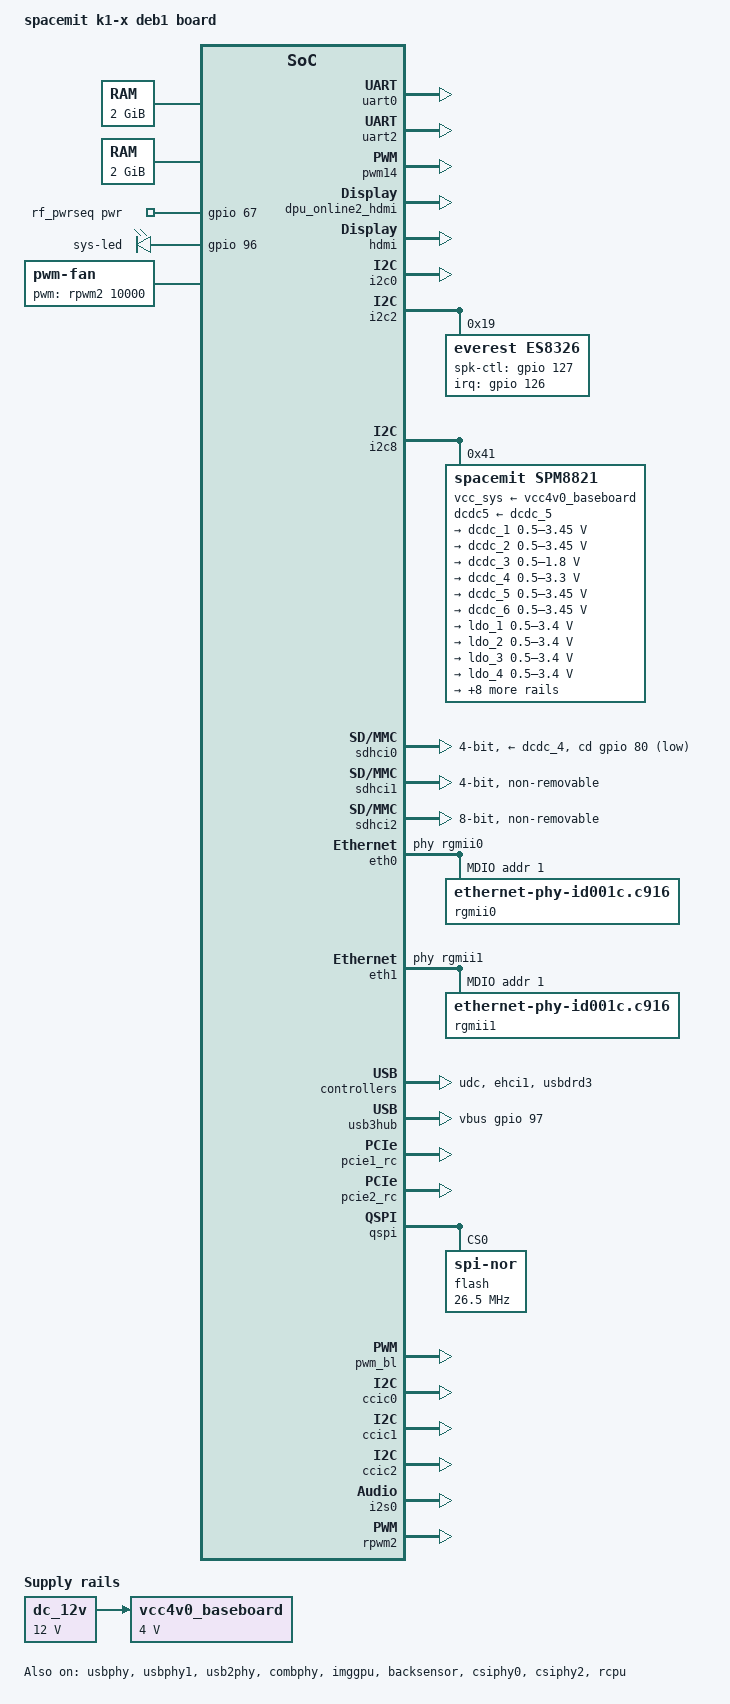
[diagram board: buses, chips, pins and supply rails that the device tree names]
// SPDX-License-Identifier: (GPL-2.0 OR MIT)
/* Copyright (c) 2023 Spacemit, Inc */

/dts-v1/;

#include "k1-x.dtsi"
#include "k1-x-efuse.dtsi"
#include "k1-x_pinctrl.dtsi"
#include "lcd_gx09inx101_mipi.dtsi"
#include "k1-x-hdmi.dtsi"
#include "k1-x-lcd.dtsi"
#include "k1-x-camera-sdk.dtsi"
#include "k1-x_opp_table.dtsi"

/ {
	model = "spacemit k1-x deb1 board";
	modules_usrload = "8852bs";

	cpus: cpus {
		#address-cells = <1>;
		#size-cells = <0>;
		timebase-frequency = <24000000>;

		cpu_0: cpu@0 {
			cpu-ai = "true";
		};

		cpu_1: cpu@1 {
			cpu-ai = "true";
		};

		cpu_2: cpu@2 {
			reg = <2>;
			cpu-ai = "true";
		};

		cpu_3: cpu@3 {
			reg = <3>;
			cpu-ai = "true";
		};

		cpu-map {
			cluster0 {
				core0 {
					cpu = <&cpu_0>;
				};

				core1 {
					cpu = <&cpu_1>;
				};

				core2 {
					cpu = <&cpu_2>;
				};

				core3 {
					cpu = <&cpu_3>;
				};
			};

			cluster1 {
				core0 {
					cpu = <&cpu_4>;
				};

				core1 {
					cpu = <&cpu_5>;
				};

				core2 {
					cpu = <&cpu_6>;
				};

				core3 {
					cpu = <&cpu_7>;
				};
			};
		};
	};

	memory@0 {
		device_type = "memory";
		reg = <0x0 0x00000000 0x0 0x80000000>;
	};

	memory@100000000 {
		device_type = "memory";
		reg = <0x1 0x00000000 0x0 0x80000000>;
	};

	reserved-memory {
		#address-cells = <2>;
		#size-cells = <2>;
		ranges;

		linux,cma {
			compatible = "shared-dma-pool";
			/* alloc memory from 0x40000000~0x80000000 */
			alloc-ranges = <0 0x40000000 0 0x40000000>;
			/* size of cma buffer is 384MByte */
			size = <0 0x18000000>;
			/* start address is 1Mbyte aligned */
			alignment = <0x0 0x100000>;
			linux,cma-default;
			/* besides hardware, dma for ex. buffer can be used by memory management */
			reusable;
		};

		/* reserved 384K for dpu, including mmu table(256K) and cmdlist(128K) */
		dpu_resv: dpu_reserved@2ff40000 {
			compatible = "shared-dma-pool";
			reg = <0x0 0x2ff40000 0x0 0x000C0000>;
			no-map;
		};
	};

	chosen {
		bootargs = "earlycon=sbi console=ttyS0,115200n8 debug loglevel=8 swiotlb=65536 rdinit=/init";
		stdout-path = "serial0:115200n8";
	};

	dc_12v: dc-12v {
		compatible = "regulator-fixed";
		regulator-name = "dc_12v";
		regulator-always-on;
		regulator-boot-on;
		regulator-min-microvolt = <12000000>;
		regulator-max-microvolt = <12000000>;
	};

	vcc4v0_baseboard: vcc4v0-baseboard {
		compatible = "regulator-fixed";
		regulator-name = "vcc4v0_baseboard";
		regulator-always-on;
		regulator-boot-on;
		regulator-min-microvolt = <4000000>;
		regulator-max-microvolt = <4000000>;
		vin-supply = <&dc_12v>;
	};

	rf_pwrseq: rf-pwrseq {
		compatible = "spacemit,rf-pwrseq";
		//vdd-supply = <&ldo_7>;
		//vdd_voltage = <3300000>;
		io-supply = <&dcdc_3>;
		io_voltage = <1800000>;
		pwr-gpios  = <&gpio 67 0>;
		status = "okay";

		wlan_pwrseq: wlan-pwrseq {
			compatible = "spacemit,wlan-pwrseq";
			regon-gpios = <&gpio 116 0>;
			interrupt-parent = <&pinctrl>;
			interrupts = <268>;
			pinctrl-names = "default";
			pinctrl-0 = <&pinctrl_wlan_wakeup>;
		};

		bt_pwrseq: bt-pwrseq {
			compatible = "spacemit,bt-pwrseq";
			reset-gpios     = <&gpio 63 0>;
		};
	};

	leds {
		compatible = "gpio-leds";

		led1 {
			label = "sys-led";
			gpios = <&gpio 96 0>;
			linux,default-trigger = "heartbeat";
			default-state = "on";
			status = "okay";
		};
	};

	fan: pwm-fan {
		compatible = "pwm-fan";
		pwms = <&rpwm2 10000>;
		#cooling-cells = <2>;
		cooling-levels = <0 64 128 192 255>;
		status = "okay";
	};
};

&uart0 {
	pinctrl-names = "default";
	pinctrl-0 = <&pinctrl_uart0_2>;
	status = "okay";
};

&uart2 {
	pinctrl-names = "default";
	pinctrl-0 = <&pinctrl_uart2>;
	status = "okay";
};

&pwm14 {
	pinctrl-names = "default";
	pinctrl-0 = <&pinctrl_pwm14_1>;
	status = "okay";
};

&dpu_online2_dsi {
	memory-region = <&dpu_resv>;
	spacemit-dpu-bitclk = <1000000000>;
	spacemit-dpu-escclk = <76800000>;
	dsi_1v2-supply = <&ldo_5>;
	vin-supply-names = "dsi_1v2";
	status = "disabled";
};

&dsi2 {
	status = "disabled";

	panel2: panel2@0 {
		status = "ok";
		compatible = "spacemit,mipi-panel2";
		reg = <0>;

		gpios-reset = <81>;
		gpios-dc = <82 83>;
		id = <2>;
		delay-after-reset = <10>;
		force-attached = "lcd_gx09inx101_mipi";
	};
};

&lcds {
	status = "disabled";
};

&dpu_online2_hdmi {
	memory-region = <&dpu_resv>;
	status = "okay";
};

&hdmi{
	pinctrl-names = "default";
	pinctrl-0 = <&pinctrl_hdmi_0>;
	status = "okay";
};

&i2c0 {
	pinctrl-names = "default";
	pinctrl-0 = <&pinctrl_i2c0>;
	spacemit,i2c-fast-mode;
	status = "okay";
};

&i2c2 {
	pinctrl-names = "default";
	pinctrl-0 = <&pinctrl_i2c2_0>;
	spacemit,i2c-fast-mode;
	status = "okay";

	eeprom@50{
		compatible = "atmel,24c02";
		reg = <0x50>;
		#address-cells = <1>;
		#size-cells = <1>;

		power-domains = <&power K1X_PMU_DUMMY_PWR_DOMAIN>;
		status = "disabled";

		mac_address0: mac_address0@0 {
			reg = <0x0 6>;
		};

		mac_address1: mac_address1@6 {
			reg = <0x6 6>;
		};
	};

	es8326: es8326@19{
		compatible = "everest,es8326";
		reg = <0x19>;
		#sound-dai-cells = <0>;
		interrupt-parent = <&gpio>;
		interrupts = <126 1>;
		spk-ctl-gpio = <&gpio 127 0>;
		everest,mic1-src = [44];
		everest,mic2-src = [66];
		status = "okay";
	};
};

&i2c3 {
	pinctrl-names = "default";
	pinctrl-0 = <&pinctrl_i2c3_2>;
	status = "disabled";
};

&i2c4 {
	pinctrl-names = "default";
	pinctrl-0 = <&pinctrl_i2c4_2>;
	status = "disabled";
};

&i2c6 {
	pinctrl-names = "default";
	pinctrl-0 = <&pinctrl_i2c6_2>;
	status = "disabled";

	gt9xx@5d {
		compatible = "goodix,gt9xx";
		reg = <0x5d>;

		reset-gpios = <&gpio 114 GPIO_ACTIVE_HIGH>;
		irq-gpios = <&gpio 58 GPIO_ACTIVE_HIGH>;
		irq-flags = <2>;

		touchscreen-max-id = <11>;
		touchscreen-size-x = <1200>;
		touchscreen-size-y = <1920>;
		touchscreen-max-w = <512>;
		touchscreen-max-p = <512>;

		goodix,int-sync = <1>;
		status = "disabled";
	};

};

&i2c7 {
	pinctrl-names = "default";
	pinctrl-0 = <&pinctrl_i2c7>;
	status = "disabled";
};

&i2c8 {
	pinctrl-names = "default";
	pinctrl-0 = <&pinctrl_i2c8>;
	status = "okay";

	spm8821@41 {
		compatible = "spacemit,spm8821";
		reg = <0x41>;
		interrupt-parent = <&intc>;
		interrupts = <64>;
		status = "okay";

		vcc_sys-supply = <&vcc4v0_baseboard>;
		dcdc5-supply = <&dcdc_5>;

		regulators {
			compatible = "pmic,regulator,spm8821";

			/* buck */
			dcdc_1: DCDC_REG1 {
				regulator-name = "dcdc1";
				regulator-min-microvolt = <500000>;
				regulator-max-microvolt = <3450000>;
				regulator-ramp-delay = <5000>;
				regulator-always-on;

				regulator-state-mem {
					regulator-off-in-suspend;
					regulator-suspend-microvolt = <650000>;
				};
			};

			dcdc_2: DCDC_REG2 {
				regulator-name = "dcdc2";
				regulator-min-microvolt = <500000>;
				regulator-max-microvolt = <3450000>;
				regulator-ramp-delay = <5000>;
				regulator-always-on;
			};

			dcdc_3: DCDC_REG3 {
				regulator-name = "dcdc3";
				regulator-min-microvolt = <500000>;
				regulator-max-microvolt = <1800000>;
				regulator-ramp-delay = <5000>;
				regulator-always-on;
			};

			dcdc_4: DCDC_REG4 {
				regulator-name = "dcdc4";
				regulator-min-microvolt = <500000>;
				regulator-max-microvolt = <3300000>;
				regulator-ramp-delay = <5000>;
				regulator-always-on;

				regulator-state-mem {
					regulator-off-in-suspend;
					regulator-suspend-microvolt = <3300000>;
				};
			};

			dcdc_5: DCDC_REG5 {
				regulator-name = "dcdc5";
				regulator-min-microvolt = <500000>;
				regulator-max-microvolt = <3450000>;
				regulator-ramp-delay = <5000>;
				regulator-always-on;
			};

			dcdc_6: DCDC_REG6 {
				regulator-name = "dcdc6";
				regulator-min-microvolt = <500000>;
				regulator-max-microvolt = <3450000>;
				regulator-ramp-delay = <5000>;
				regulator-always-on;
			};

			/* aldo */
			ldo_1: LDO_REG1 {
				regulator-name = "ldo1";
				regulator-min-microvolt = <500000>;
				regulator-max-microvolt = <3400000>;
				regulator-boot-on;

				/* set the min voltage means will disable this vol in suspend for ldo */
				regulator-state-mem {
					regulator-off-in-suspend;
					regulator-suspend-microvolt = <500000>;
				};
			};

			ldo_2: LDO_REG2 {
				regulator-name = "ldo2";
				regulator-min-microvolt = <500000>;
				regulator-max-microvolt = <3400000>;

				regulator-state-mem {
					regulator-off-in-suspend;
					regulator-suspend-microvolt = <500000>;
				};
			};

			ldo_3: LDO_REG3 {
				regulator-name = "ldo3";
				regulator-min-microvolt = <500000>;
				regulator-max-microvolt = <3400000>;

				regulator-state-mem {
					regulator-off-in-suspend;
					regulator-suspend-microvolt = <500000>;
				};
			};

			ldo_4: LDO_REG4 {
				regulator-name = "ldo4";
				regulator-min-microvolt = <500000>;
				regulator-max-microvolt = <3400000>;

				regulator-state-mem {
					regulator-off-in-suspend;
					regulator-suspend-microvolt = <500000>;
				};
			};

			/* dldo */
			ldo_5: LDO_REG5 {
				regulator-name = "ldo5";
				regulator-min-microvolt = <500000>;
				regulator-max-microvolt = <3400000>;
				regulator-boot-on;

				regulator-state-mem {
					regulator-off-in-suspend;
					regulator-suspend-microvolt = <500000>;
				};
			};

			ldo_6: LDO_REG6 {
				regulator-name = "ldo6";
				regulator-min-microvolt = <500000>;
				regulator-max-microvolt = <3400000>;

				regulator-state-mem {
					regulator-off-in-suspend;
					regulator-suspend-microvolt = <500000>;
				};
			};

			ldo_7: LDO_REG7 {
				regulator-name = "ldo7";
				regulator-min-microvolt = <500000>;
				regulator-max-microvolt = <3400000>;

				regulator-state-mem {
					regulator-off-in-suspend;
					regulator-suspend-microvolt = <500000>;
				};
			};

			ldo_8: LDO_REG8 {
				regulator-name = "ldo8";
				regulator-min-microvolt = <500000>;
				regulator-max-microvolt = <3400000>;
				regulator-always-on;
			};

			ldo_9: LDO_REG9 {
				regulator-name = "ldo9";
				regulator-min-microvolt = <500000>;
				regulator-max-microvolt = <3400000>;
			};

			ldo_10: LDO_REG10 {
				regulator-name = "ldo10";
				regulator-min-microvolt = <500000>;
				regulator-max-microvolt = <3400000>;
				regulator-always-on;
			};

			ldo_11: LDO_REG11 {
				regulator-name = "ldo11";
				regulator-min-microvolt = <500000>;
				regulator-max-microvolt = <3400000>;
			};

			sw_1: SWITCH_REG1 {
				regulator-name = "switch1";
			};
		};

		pmic_pinctrl: pinctrl {
			compatible = "pmic,pinctrl,spm8821";
			gpio-controller;
			#gpio-cells = <2>;
			spacemit,npins = <6>;
/**
 *			led_pins: led-pins {
 *				pins = "PIN3";
 *				function = "sleep";
 *				bias-disable = <0>;
 *				drive-open-drain = <0x1>;
 *			};
 */
		};

		pwr_key: key {
			compatible = "pmic,pwrkey,spm8821";
		};

		ext_rtc: rtc {
			compatible = "pmic,rtc,spm8821";
		};
	};
};

&pinctrl {
	pinctrl-single,gpio-range = <
		&range GPIO_49  2 (MUX_MODE0 | EDGE_NONE | PULL_UP   | PAD_3V_DS4)
		&range GPIO_58  1 (MUX_MODE0 | EDGE_NONE | PULL_UP   | PAD_1V8_DS2)
		&range GPIO_63  2 (MUX_MODE0 | EDGE_NONE | PULL_UP   | PAD_1V8_DS2)
		&range GPIO_65  1 (MUX_MODE0 | EDGE_NONE | PULL_UP   | PAD_1V8_DS2)
		&range GPIO_67  1 (MUX_MODE0 | EDGE_NONE | PULL_UP   | PAD_3V_DS4)
		&range PRI_TDI  2 (MUX_MODE1 | EDGE_NONE | PULL_UP   | PAD_1V8_DS2)
		&range PRI_TCK  1 (MUX_MODE1 | EDGE_NONE | PULL_DOWN | PAD_1V8_DS2)
		&range PRI_TDO  1 (MUX_MODE1 | EDGE_NONE | PULL_UP   | PAD_1V8_DS2)
		&range GPIO_74  1 (MUX_MODE0 | EDGE_NONE | PULL_UP   | PAD_1V8_DS2)
		&range GPIO_80  1 (MUX_MODE0 | EDGE_NONE | PULL_UP   | PAD_3V_DS4)
		&range GPIO_81  3 (MUX_MODE0 | EDGE_NONE | PULL_UP   | PAD_1V8_DS2)
		&range GPIO_90  1 (MUX_MODE0 | EDGE_NONE | PULL_DOWN | PAD_1V8_DS2)
		&range GPIO_91  2 (MUX_MODE0 | EDGE_NONE | PULL_UP   | PAD_1V8_DS2)
		&range DVL0     1 (MUX_MODE1 | EDGE_NONE | PULL_DOWN | PAD_1V8_DS2)
		&range DVL1     1 (MUX_MODE1 | EDGE_NONE | PULL_DOWN | PAD_1V8_DS0)
		&range GPIO_110 1 (MUX_MODE0 | EDGE_NONE | PULL_DOWN | PAD_1V8_DS2)
		&range GPIO_111 1 (MUX_MODE0 | EDGE_NONE | PULL_DOWN | PAD_1V8_DS2)
		&range GPIO_113 1 (MUX_MODE0 | EDGE_NONE | PULL_DOWN | PAD_1V8_DS2)
		&range GPIO_114 1 (MUX_MODE0 | EDGE_NONE | PULL_DOWN | PAD_1V8_DS2)
		&range GPIO_115 1 (MUX_MODE0 | EDGE_NONE | PULL_DOWN | PAD_1V8_DS2)
		&range GPIO_116 1 (MUX_MODE0 | EDGE_NONE | PULL_UP   | PAD_1V8_DS2)
		&range GPIO_118 1 (MUX_MODE0 | EDGE_NONE | PULL_UP   | PAD_1V8_DS2)
		&range GPIO_123 1 (MUX_MODE0 | EDGE_NONE | PULL_DOWN | PAD_1V8_DS0)
		&range GPIO_124 1 (MUX_MODE0 | EDGE_NONE | PULL_UP   | PAD_1V8_DS2)
		&range GPIO_125 3 (MUX_MODE0 | EDGE_NONE | PULL_DOWN | PAD_1V8_DS2)
	>;

	pinctrl_rcpu: pinctrl_rcpu_grp {
		pinctrl-single,pins = <
			K1X_PADCONF(GPIO_47,   MUX_MODE1, (EDGE_NONE | PULL_UP | PAD_3V_DS4))	/* r_uart0_tx */
			K1X_PADCONF(GPIO_48,   MUX_MODE1, (EDGE_NONE | PULL_UP | PAD_3V_DS4))	/* r_uart0_rx */
		>;
	};

	pinctrl_gmac0: gmac0_grp {
		pinctrl-single,pins =<
			K1X_PADCONF(GPIO_00,    MUX_MODE1, (EDGE_NONE | PULL_DIS | PAD_1V8_DS2))   /* gmac0_rxdv */
			K1X_PADCONF(GPIO_01,    MUX_MODE1, (EDGE_NONE | PULL_DIS | PAD_1V8_DS2))   /* gmac0_rx_d0 */
			K1X_PADCONF(GPIO_02,    MUX_MODE1, (EDGE_NONE | PULL_DIS | PAD_1V8_DS2))   /* gmac0_rx_d1 */
			K1X_PADCONF(GPIO_03,    MUX_MODE1, (EDGE_NONE | PULL_DIS | PAD_1V8_DS2))   /* gmac0_rx_clk */
			K1X_PADCONF(GPIO_04,    MUX_MODE1, (EDGE_NONE | PULL_DIS | PAD_1V8_DS2))   /* gmac0_rx_d2 */
			K1X_PADCONF(GPIO_05,    MUX_MODE1, (EDGE_NONE | PULL_DIS | PAD_1V8_DS2))   /* gmac0_rx_d3 */
			K1X_PADCONF(GPIO_06,    MUX_MODE1, (EDGE_NONE | PULL_DIS | PAD_1V8_DS2))   /* gmac0_tx_d0 */
			K1X_PADCONF(GPIO_07,    MUX_MODE1, (EDGE_NONE | PULL_DIS | PAD_1V8_DS2))   /* gmac0_tx_d1 */
			K1X_PADCONF(GPIO_08,    MUX_MODE1, (EDGE_NONE | PULL_DIS | PAD_1V8_DS2))   /* gmac0_tx */
			K1X_PADCONF(GPIO_09,    MUX_MODE1, (EDGE_NONE | PULL_DIS | PAD_1V8_DS2))   /* gmac0_tx_d2 */
			K1X_PADCONF(GPIO_10,    MUX_MODE1, (EDGE_NONE | PULL_DIS | PAD_1V8_DS2))   /* gmac0_tx_d3 */
			K1X_PADCONF(GPIO_11,    MUX_MODE1, (EDGE_NONE | PULL_DIS | PAD_1V8_DS2))   /* gmac0_tx_en */
			K1X_PADCONF(GPIO_12,    MUX_MODE1, (EDGE_NONE | PULL_DIS | PAD_1V8_DS0))   /* gmac0_mdc */
			K1X_PADCONF(GPIO_13,    MUX_MODE1, (EDGE_NONE | PULL_DIS | PAD_1V8_DS0))   /* gmac0_mdio */
			K1X_PADCONF(GPIO_14,    MUX_MODE1, (EDGE_NONE | PULL_DIS | PAD_1V8_DS2))   /* gmac0_int_n */
			K1X_PADCONF(GPIO_45,    MUX_MODE1, (EDGE_NONE | PULL_DIS | PAD_1V8_DS2))   /* gmac0_clk_ref */
		>;
	};

	pinctrl_gmac1: gmac1_grp {
		pinctrl-single,pins =<
			K1X_PADCONF(GPIO_29,    MUX_MODE1, (EDGE_NONE | PULL_DIS | PAD_1V8_DS2))   /* gmac1_rxdv */
			K1X_PADCONF(GPIO_30,    MUX_MODE1, (EDGE_NONE | PULL_DIS | PAD_1V8_DS2))   /* gmac1_rx_d0 */
			K1X_PADCONF(GPIO_31,    MUX_MODE1, (EDGE_NONE | PULL_DIS | PAD_1V8_DS2))   /* gmac1_rx_d1 */
			K1X_PADCONF(GPIO_32,    MUX_MODE1, (EDGE_NONE | PULL_DIS | PAD_1V8_DS2))   /* gmac1_rx_clk */
			K1X_PADCONF(GPIO_33,    MUX_MODE1, (EDGE_NONE | PULL_DIS | PAD_1V8_DS2))   /* gmac1_rx_d2 */
			K1X_PADCONF(GPIO_34,    MUX_MODE1, (EDGE_NONE | PULL_DIS | PAD_1V8_DS2))   /* gmac1_rx_d3 */
			K1X_PADCONF(GPIO_35,    MUX_MODE1, (EDGE_NONE | PULL_DIS | PAD_1V8_DS0))   /* gmac1_tx_d0 */
			K1X_PADCONF(GPIO_36,    MUX_MODE1, (EDGE_NONE | PULL_DIS | PAD_1V8_DS0))   /* gmac1_tx_d1 */
			K1X_PADCONF(GPIO_37,    MUX_MODE1, (EDGE_NONE | PULL_DIS | PAD_1V8_DS2))   /* gmac1_tx */
			K1X_PADCONF(GPIO_38,    MUX_MODE1, (EDGE_NONE | PULL_DIS | PAD_1V8_DS0))   /* gmac1_tx_d2 */
			K1X_PADCONF(GPIO_39,    MUX_MODE1, (EDGE_NONE | PULL_DIS | PAD_1V8_DS0))   /* gmac1_tx_d3 */
			K1X_PADCONF(GPIO_40,    MUX_MODE1, (EDGE_NONE | PULL_DIS | PAD_1V8_DS0))   /* gmac1_tx_en */
			K1X_PADCONF(GPIO_41,    MUX_MODE1, (EDGE_NONE | PULL_DIS | PAD_1V8_DS0))   /* gmac1_mdc */
			K1X_PADCONF(GPIO_42,    MUX_MODE1, (EDGE_NONE | PULL_DIS | PAD_1V8_DS0))   /* gmac1_mdio */
			K1X_PADCONF(GPIO_43,    MUX_MODE1, (EDGE_NONE | PULL_DIS | PAD_1V8_DS2))   /* gmac1_int_n */
			K1X_PADCONF(GPIO_46,    MUX_MODE1, (EDGE_NONE | PULL_DIS | PAD_1V8_DS2))   /* gmac1_clk_ref */
		>;
	};

	pinctrl_wlan_wakeup: wlan_wakeup_grp {
		pinctrl-single,pins =<
			K1X_PADCONF(GPIO_66, MUX_MODE0, (EDGE_FALL | PULL_DOWN | PAD_3V_DS2))   /* wifi edge detect */
		>;
	};
};

&gpio{
	gpio-ranges = <
		&pinctrl 49  GPIO_49  2
		&pinctrl 58  GPIO_58  1
		&pinctrl 63  GPIO_63  3
		&pinctrl 67  GPIO_67  1
		&pinctrl 70  PRI_TDI  4
		&pinctrl 74  GPIO_74  1
		&pinctrl 80  GPIO_80  4
		&pinctrl 90  GPIO_90  3
		&pinctrl 96  DVL0     2
		&pinctrl 110 GPIO_110 1
		&pinctrl 111 GPIO_111 1
		&pinctrl 113 GPIO_113 1
		&pinctrl 114 GPIO_114 3
		&pinctrl 118 GPIO_118 1
		&pinctrl 123 GPIO_123 5
	>;
};

/* SD */
&sdhci0 {
	pinctrl-names = "default","fast";
	pinctrl-0 = <&pinctrl_mmc1>;
	pinctrl-1 = <&pinctrl_mmc1_fast>;
	bus-width = <4>;
	cd-gpios = <&gpio 80 0>;
	cd-inverted;
	vmmc-supply = <&dcdc_4>;
	vqmmc-supply = <&ldo_1>;
	no-mmc;
	no-sdio;
	spacemit,sdh-host-caps-disable = <(
			MMC_CAP_UHS_SDR12 |
			MMC_CAP_UHS_SDR25
			)>;
	spacemit,sdh-quirks = <(
			SDHCI_QUIRK_BROKEN_CARD_DETECTION |
			SDHCI_QUIRK_INVERTED_WRITE_PROTECT |
			SDHCI_QUIRK_BROKEN_TIMEOUT_VAL
			)>;
	spacemit,sdh-quirks2 = <(
			SDHCI_QUIRK2_PRESET_VALUE_BROKEN |
			SDHCI_QUIRK2_BROKEN_PHY_MODULE |
			SDHCI_QUIRK2_SET_AIB_MMC
			)>;
	spacemit,aib_mmc1_io_reg = <0xD401E81C>;
	spacemit,apbc_asfar_reg = <0xD4015050>;
	spacemit,apbc_assar_reg = <0xD4015054>;
	spacemit,rx_dline_reg = <0x0>;
	spacemit,tx_dline_reg = <0x0>;
	spacemit,tx_delaycode = <0x7f>;
	spacemit,rx_tuning_limit = <50>;
	spacemit,sdh-freq = <204800000>;
	status = "okay";
};

/* SDIO */
&sdhci1 {
	pinctrl-names = "default";
	pinctrl-0 = <&pinctrl_mmc2>;
	bus-width = <4>;
	non-removable;
	vqmmc-supply = <&dcdc_3>;
	no-mmc;
	no-sd;
	keep-power-in-suspend;
	/* bcmdhd use private oob solution rather than dat1/standard wakeup */
	/delete-property/ enable-sdio-wakeup;
	spacemit,sdh-host-caps-disable = <(
			MMC_CAP_UHS_DDR50 |
			MMC_CAP_NEEDS_POLL
			)>;
	spacemit,sdh-quirks = <(
			SDHCI_QUIRK_BROKEN_CARD_DETECTION |
			SDHCI_QUIRK_BROKEN_TIMEOUT_VAL
			)>;
	spacemit,sdh-quirks2 = <(
			SDHCI_QUIRK2_PRESET_VALUE_BROKEN |
			SDHCI_QUIRK2_BROKEN_PHY_MODULE
			)>;
	spacemit,rx_dline_reg = <0x0>;
	spacemit,rx_tuning_limit = <50>;
	spacemit,sdh-freq = <375000000>;
	status = "okay";
};

/* eMMC */
&sdhci2 {
	bus-width = <8>;
	non-removable;
	mmc-hs400-1_8v;
	mmc-hs400-enhanced-strobe;
	no-sd;
	no-sdio;
	spacemit,sdh-quirks = <(
			SDHCI_QUIRK_BROKEN_CARD_DETECTION |
			SDHCI_QUIRK_BROKEN_TIMEOUT_VAL
			)>;
	spacemit,sdh-quirks2 = <(
			SDHCI_QUIRK2_PRESET_VALUE_BROKEN
			)>;
	spacemit,sdh-freq = <375000000>;
	status = "okay";
};

&eth0 {
	pinctrl-names = "default";
	pinctrl-0 = <&pinctrl_gmac0>;

	emac,reset-gpio = <&gpio 110 0>;
	emac,reset-active-low;
	emac,reset-delays-us = <0 10000 100000>;

	/* store forward mode */
	tx-threshold = <1518>;
	rx-threshold = <12>;
	tx-ring-num = <1024>;
	rx-ring-num = <1024>;
	dma-burst-len = <5>;

	ref-clock-from-phy;

	clk-tuning-enable;
	clk-tuning-by-delayline;
	tx-phase = <60>;
	rx-phase = <73>;

	nvmem-cells = <&mac_address0>;
	nvmem-cell-names = "mac-address";

	phy-handle = <&rgmii0>;

	status = "okay";

	mdio-bus {
		#address-cells = <0x1>;
		#size-cells = <0x0>;
		rgmii0: phy@0 {
			compatible = "ethernet-phy-id001c.c916";
			device_type = "ethernet-phy";
			reg = <0x1>;
			phy-mode = "rgmii";
		};
	};
};

&eth1 {
	pinctrl-names = "default";
	pinctrl-0 = <&pinctrl_gmac1>;

	emac,reset-gpio = <&gpio 115 0>;
	emac,reset-active-low;
	emac,reset-delays-us = <0 10000 100000>;

        /* store forward mode */
	tx-threshold = <1518>;
	rx-threshold = <12>;
	tx-ring-num = <1024>;
	rx-ring-num = <1024>;
	dma-burst-len = <5>;

	ref-clock-from-phy;

	clk-tuning-enable;
	clk-tuning-by-delayline;
	tx-phase = <90>;
	rx-phase = <73>;
	nvmem-cells = <&mac_address1>;
	nvmem-cell-names = "mac-address";

	phy-handle = <&rgmii1>;

	status = "okay";

	mdio-bus {
		#address-cells = <0x1>;
		#size-cells = <0x0>;
		rgmii1: phy@1 {
			compatible = "ethernet-phy-id001c.c916";
			device_type = "ethernet-phy";
			reg = <0x1>;
			phy-mode = "rgmii";
		};
	};
};

&usbphy {
	status = "okay";
};

&udc {
	/*spacemit,udc-mode = <MV_USB_MODE_OTG>;
	spacemit,extern-attr = <MV_USB_HAS_VBUS_IDPIN_DETECTION>;*/
	spacemit,udc-mode = <MV_USB_MODE_UDC>;
	status = "okay";
};

&usbphy1 {
	status = "okay";
};

&ehci1 {
	spacemit,reset-on-resume;
	status = "okay";
};

&usb2phy {
	status = "okay";
};

&combphy {
	status = "okay";
};

&usb3hub {
	hub-gpios = <
		&gpio 123 0	/* usb3 hub en */
		&gpio 124 0>;	/* usb3 hub rst*/
	vbus-gpios = <&gpio 97 0>;	/* gpio_97 for usb3 hub output vbus */
	status = "okay";
};

&usbdrd3 {
	status = "okay";
	reset-on-resume;
	dwc3@c0a00000 {
		dr_mode = "host";
		phy_type = "utmi";
		snps,hsphy_interface = "utmi";
		snps,dis_enblslpm_quirk;
		snps,dis_u2_susphy_quirk;
		snps,dis_u3_susphy_quirk;
		snps,dis-del-phy-power-chg-quirk;
		snps,dis-tx-ipgap-linecheck-quirk;
		snps,parkmode-disable-ss-quirk;
	};
};

&pcie1_rc {
	pinctrl-names = "default";
	pinctrl-0 = <&pinctrl_pcie1_3>;
	status = "okay";
};

&pcie2_rc {
	pinctrl-names = "default";
	pinctrl-0 = <&pinctrl_pcie2_4>;
	status = "okay";
};

&imggpu {
	status = "okay";
};

&qspi {
	pinctrl-names = "default";
	pinctrl-0 = <&pinctrl_qspi>;
	status = "okay";

	flash@0 {
		compatible = "jedec,spi-nor";
		reg = <0>;
		spi-max-frequency = <26500000>;
		m25p,fast-read;
		broken-flash-reset;
		status = "okay";
	};
};

&pwm_bl {
	pwms = <&pwm14 2000>;
	brightness-levels = <
		0   40  40  40  40  40  40  40  40  40  40  40  40  40  40  40
		40  40  40  40  40  40  40  40  40  40  40  40  40  40  40  40
		40  40  40  40  40  40  40  40  40  41  42  43  44  45  46  47
		48  49  50  51  52  53  54  55  56  57  58  59  60  61  62  63
		64  65  66  67  68  69  70  71  72  73  74  75  76  77  78  79
		80  81  82  83  84  85  86  87  88  89  90  91  92  93  94  95
		96  97  98  99  100 101 102 103 104 105 106 107 108 109 110 111
		112 113 114 115 116 117 118 119 120 121 122 123 124 125 126 127
		128 129 130 131 132 133 134 135 136 137 138 139 140 141 142 143
		144 145 146 147 148 149 150 151 152 153 154 155 156 157 158 159
		160 161 162 163 164 165 166 167 168 169 170 171 172 173 174 175
		176 177 178 179 180 181 182 183 184 185 186 187 188 189 190 191
		192 193 194 195 196 197 198 199 200 201 202 203 204 205 206 207
		208 209 210 211 212 213 214 215 216 217 218 219 220 221 222 223
		224 225 226 227 228 229 230 231 232 233 234 235 236 237 238 239
		240 241 242 243 244 245 246 247 248 249 250 251 252 253 254 255
	>;
	default-brightness-level = <100>;

	status = "okay";
};

/* ov16a10 */
&backsensor {
	af_2v8-supply = <&ldo_3>;
	avdd_2v8-supply = <&ldo_2>;
	dovdd_1v8-supply = <&ldo_7>;
	dvdd_1v2-supply = <&ldo_6>;

	pwdn-gpios = <&gpio 113 0>;
	reset-gpios = <&gpio 111 0>;

	status = "okay";
};

&backsensor_aux {
	avdd_2v8-supply = <&ldo_2>;
	dovdd_1v8-supply = <&ldo_7>;

	status = "disabled";
};

&frontsensor {
	af_2v8-supply = <&ldo_3>;
	avdd_2v8-supply = <&ldo_2>;
	dovdd_1v8-supply = <&ldo_7>;
	dvdd_1v2-supply = <&ldo_6>;

	clocks = <&ccu CLK_CAMM1>;
	clock-names = "cam_mclk1";
	pinctrl-names = "default";
	pinctrl-0 = <&pinctrl_camera1>;

	pwdn-gpios = <&gpio 114 0>;
	reset-gpios = <&gpio 112 0>;

	status = "disabled";
};
&csiphy0 {

	status = "okay";
};
&csiphy1 {

	status = "disabled";
};
&csiphy2 {

	status = "okay";
};

&ccic0 {
	power-domains = <&power K1X_PMU_ISP_PWR_DOMAIN>;

	status = "okay";
};
&ccic1 {
	power-domains = <&power K1X_PMU_ISP_PWR_DOMAIN>;

	status = "okay";
};
&ccic2 {
	power-domains = <&power K1X_PMU_ISP_PWR_DOMAIN>;

	status = "okay";
};
&isp {
	power-domains = <&power K1X_PMU_ISP_PWR_DOMAIN>;
};

&cpp {
	power-domains = <&power K1X_PMU_ISP_PWR_DOMAIN>;
};

&vi {
	power-domains = <&power K1X_PMU_ISP_PWR_DOMAIN>;
};

&rcpu {
	pinctrl-names = "default";
	pinctrl-0 = <&pinctrl_rcpu>;
	mboxes = <&mailbox 0>, <&mailbox 1>;
	mbox-names = "vq0", "vq1";
	memory-region = <&rcpu_mem_0>, <&vdev0vring0>, <&vdev0vring1>, <&vdev0buffer>, <&rsc_table>, <&rcpu_mem_snapshots>;
	status = "okay";
};

&thermal {
	sensor_range = <0x1 0x4>;
};

&thermal_zones {
	top_thermal {
		polling-delay = <0>;
		polling-delay-passive = <0>;
		thermal-sensors = <&thermal 1>;

		trips {
			top_trip0: top-trip0 {
				temperature = <40000>;
				hysteresis = <5000>;
				type = "passive";
			};

			top_trip1: top-trip1 {
				temperature = <55000>;
				hysteresis = <5000>;
				type = "passive";
			};

			top_trip2: top-trip2 {
				temperature = <70000>;
				hysteresis = <5000>;
				type = "passive";
			};

			top_trip3: top-trip3 {
				temperature = <85000>;
				hysteresis = <5000>;
				type = "passive";
			};
		};

		cooling-maps {
			map0 {
				trip = <&top_trip0>;
				cooling-device = <&fan 0 1>;
			};

			map1 {
				trip = <&top_trip1>;
				cooling-device = <&fan 1 2>;
			};

			map2 {
				trip = <&top_trip2>;
				cooling-device = <&fan 2 3>;
			};

			map3 {
				trip = <&top_trip3>;
				cooling-device = <&fan 3 4>;
			};
		};
	};

	gpu_thermal {
		polling-delay = <0>;
		polling-delay-passive = <0>;
		thermal-sensors = <&thermal 2>;

		/* Just a placeholder */
		trips {
			gpu_trip0: gpu-trip0 {
				temperature = <40000>;
				hysteresis = <5000>;
				type = "passive";
			};
		};
	};
};

&cls0_trip2 {
	temperature = <115000>;
};

&cls1_trip2 {
	temperature = <115000>;
};

&i2s0 {
        pinctrl-names = "default";
        pinctrl-0 = <&pinctrl_sspa0_0>;
        status = "okay";
};

&sound_hdmi {
	status = "okay";
};

&sound_codec {
	status = "okay";
	simple-audio-card,name = "snd-es8326";
	spacemit,mclk-fs = <64>;
	simple-audio-card,codec {
		sound-dai = <&es8326>;
	};
};

&rpwm2 {
	pinctrl-names = "default";
	pinctrl-0 = <&pinctrl_rpwm2_0>;
	status = "okay";
};
